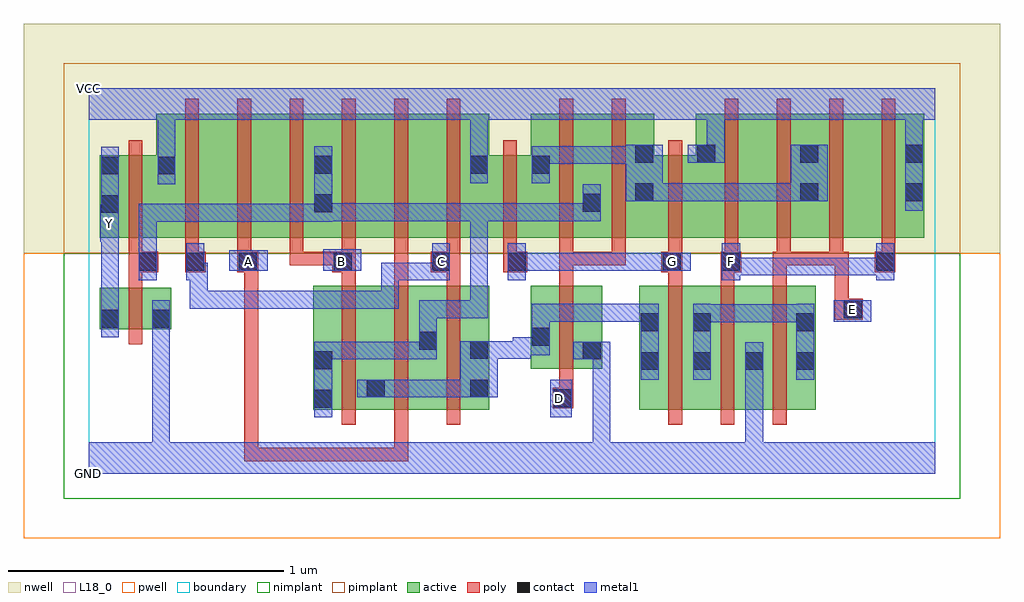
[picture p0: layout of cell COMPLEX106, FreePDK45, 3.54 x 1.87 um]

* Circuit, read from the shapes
.subckt COMPLEX106 A B C D E F G GND VCC Y
M1 GND n1 Y VSUBS nfet w=0.15u l=0.05u
M2 n2 B n1 VSUBS nfet w=0.45u l=0.05u
M3 n1 A n2 VSUBS nfet w=0.45u l=0.05u
M4 n2 C n1 VSUBS nfet w=0.45u l=0.05u
M5 GND D n2 VSUBS nfet w=0.3u l=0.05u
M6 n3 G n2 VSUBS nfet w=0.45u l=0.05u
M7 GND F n3 VSUBS nfet w=0.45u l=0.05u
M8 n3 E GND VSUBS nfet w=0.45u l=0.05u
M9 VCC n1 Y n4 pfet w=0.3u l=0.05u
M10 n5 C VCC n4 pfet w=0.45u l=0.05u
M11 n6 A n5 n4 pfet w=0.45u l=0.05u
M12 n1 B n6 n4 pfet w=0.45u l=0.05u
M13 n7 B n1 n4 pfet w=0.45u l=0.05u
M14 n8 A n7 n4 pfet w=0.45u l=0.05u
M15 VCC C n8 n4 pfet w=0.45u l=0.05u
M16 n9 G VCC n4 pfet w=0.3u l=0.05u m=2
M17 n1 D n9 n4 pfet w=0.45u l=0.05u m=2
M18 n10 F VCC n4 pfet w=0.45u l=0.05u
M19 n9 E n10 n4 pfet w=0.45u l=0.05u
M20 n11 E n9 n4 pfet w=0.45u l=0.05u
M21 VCC F n11 n4 pfet w=0.45u l=0.05u
.ends

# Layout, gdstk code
import gdstk
lib = gdstk.Library(unit=1e-6, precision=1e-09)
def R(c, l, rs):  # rectangles x0, y0, x1, y1
    for r in rs: c.add(gdstk.rectangle(r[:2], r[2:], *l))
def A(c, l, x, y, w, h, nx, ny, dx, dy):  # array of equal rectangles
    R(c, l, [(x+i*dx, y+j*dy, x+i*dx+w, y+j*dy+h) for i in range(nx) for j in range(ny)])
active = (1, 0)
pwell = (2, 0)
nwell = (3, 0)
nimplant = (4, 0)
pimplant = (5, 0)
poly = (9, 0)
contact = (10, 0)
metal1 = (11, 0)
L18_0 = (18, 0)
boundary = (235, 0)

complex106 = lib.new_cell('COMPLEX106')
R(complex106, active, [(0.815,0.232,0.89,0.682), (0.815,0.232,1.08,0.682), (1.005,0.232,1.27,0.682), (1.005,0.232,1.08,0.587), (1.195,0.232,1.455,0.682), (1.38,0.232,1.455,0.682), (2,0.232,2.075,0.682), (2,0.232,2.265,0.682), (2.19,0.232,2.265,0.682), (2.19,0.232,2.455,0.682), (2.38,0.232,2.64,0.682), (2.38,0.232,2.455,0.542), (2.565,0.232,2.64,0.682), (1.195,0.295,1.27,0.6), (1.605,0.382,1.865,0.682), (1.605,0.382,1.68,0.682), (1.79,0.382,1.865,0.625), (0.04,0.525,0.115,0.675), (0.04,0.525,0.3,0.675), (0.225,0.525,0.3,0.675), (0.04,0.857,0.115,1.157), (0.04,0.857,0.32,1.157), (0.245,0.857,0.47,1.307), (0.47,0.857,0.66,1.307), (0.66,0.857,0.89,1.307), (0.815,0.857,1.04,1.307), (0.815,0.857,0.89,1.2), (1.04,0.857,1.23,1.307), (1.23,0.857,1.455,1.307), (1.38,0.857,1.68,1.157), (1.605,0.857,1.865,1.307), (1.79,0.857,2.055,1.307), (1.79,0.857,1.865,1.07), (1.98,0.857,2.055,1.2), (1.98,0.857,2.28,1.157), (2.205,0.857,2.28,1.307), (2.205,0.857,2.43,1.307), (2.43,0.857,2.655,1.307), (2.58,0.857,2.81,1.307), (2.58,0.857,2.655,1.2), (2.81,0.857,3.035,1.307), (2.96,0.857,3.035,1.307), (0.245,1.007,0.32,1.307), (1.38,1.007,1.455,1.307), (1.605,1.007,1.68,1.2)])
R(complex106, pwell, [(-0.235,-0.235,3.31,0.8)])
R(complex106, nwell, [(-0.235,0.8,3.31,1.635)])
R(complex106, nimplant, [(-0.09,-0.09,3.165,0.8)])
R(complex106, pimplant, [(-0.09,0.8,3.165,1.49)])
A(complex106, poly, 0.92, 0.177, 0.05, 0.56, 3, 1, 0.19, 0)
A(complex106, poly, 2.105, 0.177, 0.05, 0.56, 3, 1, 0.19, 0)
A(complex106, poly, 0.92, 0.687, 0.05, 0.095, 3, 1, 0.19, 0)
A(complex106, poly, 0.35, 0.757, 0.05, 0.095, 4, 1, 0.19, 0)
A(complex106, poly, 1.3, 0.757, 0.05, 0.095, 3, 1, 0.205, 0)
A(complex106, poly, 1.9, 0.757, 0.05, 0.095, 3, 1, 0.205, 0)
A(complex106, poly, 2.5, 0.757, 0.05, 0.095, 3, 1, 0.19, 0)
A(complex106, poly, 0.35, 0.802, 0.05, 0.56, 6, 1, 0.19, 0)
A(complex106, poly, 2.31, 0.802, 0.05, 0.56, 4, 1, 0.19, 0)
R(complex106, poly, [(0.565,0.045,0.615,0.095), (0.565,0.045,0.615,0.095), (0.565,0.045,0.615,0.095), (0.565,0.045,0.615,0.095), (0.565,0.045,0.615,0.095), (0.565,0.045,0.615,0.095), (0.565,0.045,0.615,0.095), (0.565,0.045,0.747,0.095), (0.565,0.045,0.615,0.782), (0.697,0.045,0.747,0.095), (0.697,0.045,0.747,0.095), (0.697,0.045,0.747,0.095), (0.697,0.045,0.747,0.095), (0.697,0.045,0.747,0.095), (0.697,0.045,1.027,0.095), (0.977,0.045,1.027,0.095), (0.977,0.045,1.027,0.095), (0.977,0.045,1.027,0.095), (0.977,0.045,1.16,0.095), (1.11,0.045,1.16,0.095), (1.11,0.045,1.16,0.227), (1.685,0.237,1.76,0.312), (1.71,0.262,1.76,0.377), (1.71,0.327,1.76,0.737), (0.145,0.47,0.195,0.73), (2.71,0.56,2.812,0.635), (2.71,0.585,2.76,0.807), (0.145,0.68,0.195,0.782), (1.71,0.687,1.76,0.807), (2.105,0.687,2.155,0.782), (2.295,0.687,2.345,0.782), (2.485,0.687,2.535,0.807), (0.145,0.732,0.252,0.807), (0.35,0.732,0.425,0.807), (0.54,0.732,0.615,0.807), (0.565,0.732,0.615,0.782), (0.565,0.732,0.615,0.782), (0.885,0.732,0.97,0.807), (1.11,0.732,1.16,0.782), (1.11,0.732,1.16,0.852), (1.242,0.732,1.35,0.807), (1.505,0.732,1.592,0.807), (2.08,0.732,2.155,0.807), (2.295,0.732,2.37,0.807), (2.855,0.732,2.93,0.807), (0.145,0.757,0.195,0.852), (0.73,0.757,0.78,0.807), (0.73,0.757,0.78,0.807), (0.73,0.757,0.78,0.807), (0.73,0.757,0.935,0.807), (1.71,0.757,1.76,0.807), (1.71,0.757,1.95,0.807), (1.9,0.757,1.95,0.807), (1.9,0.757,1.95,0.807), (1.9,0.757,1.95,0.807), (2.485,0.757,2.55,0.807), (2.5,0.757,2.74,0.807), (2.69,0.757,2.74,0.807), (2.69,0.757,2.74,0.807), (2.69,0.757,2.74,0.807), (2.69,0.757,2.74,0.807), (2.69,0.757,2.76,0.807), (0.145,0.802,0.195,1.212), (1.505,0.802,1.555,1.212), (1.71,0.802,1.76,1.362), (1.9,0.802,1.95,1.362), (2.105,0.802,2.155,1.212)])
A(complex106, contact, 2.005, 0.377, 0.065, 0.065, 3, 1, 0.19, 0)
R(complex106, contact, [(0.82,0.24,0.885,0.305), (1.69,0.242,1.755,0.307), (1.01,0.277,1.075,0.342), (1.385,0.277,1.45,0.342), (2.57,0.377,2.635,0.442), (0.82,0.38,0.885,0.445), (1.795,0.415,1.86,0.48), (1.385,0.417,1.45,0.482), (1.2,0.45,1.265,0.515), (1.61,0.465,1.675,0.53), (2.005,0.517,2.07,0.582), (2.195,0.517,2.26,0.582), (2.57,0.517,2.635,0.582), (0.045,0.53,0.11,0.595), (0.23,0.53,0.295,0.595), (2.742,0.565,2.807,0.63), (0.182,0.737,0.247,0.802), (0.355,0.737,0.42,0.802), (0.545,0.737,0.61,0.802), (0.89,0.737,0.955,0.802), (1.247,0.737,1.312,0.802), (1.522,0.737,1.587,0.802), (2.085,0.737,2.15,0.802), (2.3,0.737,2.365,0.802), (2.86,0.737,2.925,0.802), (0.045,0.947,0.11,1.012), (0.82,0.95,0.885,1.015), (1.795,0.952,1.86,1.017), (1.985,0.99,2.05,1.055), (2.585,0.99,2.65,1.055), (2.965,0.99,3.03,1.055), (0.045,1.087,0.11,1.152), (0.25,1.087,0.315,1.152), (0.82,1.09,0.885,1.155), (1.385,1.09,1.45,1.155), (1.61,1.09,1.675,1.155), (1.985,1.13,2.05,1.195), (2.21,1.13,2.275,1.195), (2.585,1.13,2.65,1.195), (2.965,1.13,3.03,1.195)])
R(complex106, metal1, [(0,0,3.075,0.115), (0.23,0.05,0.295,0.115), (0.23,0.05,0.295,0.115), (0.23,0.05,0.295,0.115), (0.23,0.05,0.295,0.115), (0.23,0.05,0.295,0.56), (1.83,0.05,1.895,0.115), (1.83,0.05,1.895,0.115), (1.83,0.05,1.895,0.115), (1.83,0.05,1.895,0.115), (1.83,0.05,1.895,0.115), (1.83,0.05,1.895,0.115), (1.83,0.05,1.895,0.48), (2.385,0.05,2.45,0.115), (2.385,0.05,2.45,0.115), (2.385,0.05,2.45,0.407), (0.82,0.205,0.885,0.48), (1.677,0.205,1.755,0.342), (0.975,0.277,1.11,0.342), (1.045,0.277,1.127,0.342), (1.062,0.277,1.127,0.342), (1.062,0.277,1.277,0.342), (1.212,0.277,1.277,0.342), (1.212,0.277,1.277,0.342), (1.212,0.277,1.277,0.342), (1.212,0.277,1.415,0.342), (1.35,0.277,1.485,0.482), (2.005,0.342,2.07,0.617), (2.195,0.342,2.26,0.617), (2.385,0.342,2.45,0.477), (2.385,0.342,2.45,0.407), (2.385,0.342,2.45,0.407), (2.57,0.342,2.635,0.617), (0.82,0.415,0.885,0.48), (0.82,0.415,0.885,0.48), (0.82,0.415,1.127,0.48), (1.062,0.415,1.127,0.48), (1.062,0.415,1.127,0.48), (1.062,0.415,1.127,0.48), (1.062,0.415,1.265,0.48), (1.2,0.415,1.265,0.48), (1.2,0.415,1.265,0.48), (1.2,0.415,1.265,0.62), (1.76,0.415,1.895,0.48), (1.42,0.417,1.605,0.482), (1.54,0.417,1.605,0.495), (1.54,0.43,1.675,0.495), (1.61,0.43,1.675,0.567), (0.045,0.495,0.11,0.63), (0.23,0.495,0.295,0.63), (0.23,0.495,0.295,0.56), (0.23,0.495,0.295,0.56), (0.23,0.495,0.295,0.56), (0.23,0.495,0.295,0.56), (1.61,0.502,1.675,0.567), (1.61,0.502,1.675,0.567), (1.61,0.502,1.675,0.617), (2.195,0.55,2.397,0.615), (2.332,0.55,2.397,0.615), (2.332,0.55,2.397,0.615), (2.332,0.55,2.397,0.615), (2.332,0.55,2.617,0.615), (2.552,0.55,2.617,0.615), (2.552,0.55,2.635,0.615), (1.61,0.552,1.812,0.617), (1.61,0.552,1.675,0.617), (1.747,0.552,1.812,0.617), (1.747,0.552,1.812,0.617), (1.747,0.552,1.812,0.617), (1.747,0.552,1.95,0.617), (1.885,0.552,1.95,0.617), (1.885,0.552,2.07,0.617), (2.707,0.552,2.842,0.63), (1.2,0.555,1.265,0.62), (1.2,0.555,1.265,0.63), (0.045,0.565,0.11,0.907), (1.2,0.565,1.45,0.63), (1.385,0.565,1.45,0.63), (1.385,0.565,1.45,0.63), (1.385,0.565,1.45,0.63), (1.385,0.565,1.45,0.982), (0.367,0.6,0.432,0.665), (0.367,0.6,0.432,0.767), (0.367,0.6,0.575,0.665), (0.51,0.6,0.712,0.665), (0.51,0.6,0.575,0.665), (0.647,0.6,0.712,0.665), (0.647,0.6,0.712,0.665), (0.647,0.6,0.712,0.665), (0.647,0.6,0.902,0.665), (0.837,0.6,0.902,0.665), (0.837,0.6,0.902,0.665), (0.837,0.6,0.902,0.665), (0.837,0.6,1.127,0.665), (1.062,0.6,1.127,0.665), (1.062,0.6,1.127,0.767), (0.182,0.702,0.247,0.837), (0.355,0.702,0.42,0.837), (0.355,0.702,0.432,0.767), (0.367,0.702,0.432,0.767), (1.062,0.702,1.127,0.767), (1.062,0.702,1.127,0.767), (1.062,0.702,1.127,0.767), (1.062,0.702,1.265,0.767), (1.2,0.702,1.265,0.767), (1.2,0.702,1.312,0.767), (1.247,0.702,1.312,0.837), (1.522,0.702,1.587,0.837), (2.3,0.702,2.367,0.837), (2.86,0.702,2.925,0.837), (2.302,0.72,2.465,0.785), (2.4,0.72,2.465,0.785), (2.4,0.72,2.617,0.785), (2.552,0.72,2.617,0.785), (2.552,0.72,2.755,0.785), (2.69,0.72,2.892,0.785), (2.69,0.72,2.755,0.785), (2.69,0.72,2.755,0.785), (2.69,0.72,2.755,0.785), (2.827,0.72,2.925,0.785), (2.827,0.72,2.892,0.785), (0.51,0.737,0.65,0.812), (0.852,0.737,0.99,0.815), (1.522,0.737,1.675,0.802), (1.61,0.737,1.812,0.802), (1.61,0.737,1.675,0.802), (1.747,0.737,1.812,0.802), (1.747,0.737,1.812,0.802), (1.747,0.737,1.812,0.802), (1.747,0.737,1.95,0.802), (1.885,0.737,1.95,0.802), (1.885,0.737,1.95,0.802), (1.885,0.737,1.95,0.802), (1.885,0.737,2.115,0.802), (2.05,0.737,2.187,0.802), (0.182,0.772,0.247,0.837), (0.182,0.772,0.247,0.837), (0.182,0.772,0.247,0.98), (0.042,0.842,0.11,0.977), (0.045,0.912,0.11,1.187), (0.045,0.912,0.11,0.977), (0.182,0.915,0.247,0.98), (0.182,0.915,0.437,0.98), (0.372,0.915,0.437,0.98), (0.372,0.915,0.437,0.98), (0.372,0.915,0.437,0.98), (0.372,0.915,0.575,0.98), (0.51,0.915,0.575,0.98), (0.51,0.915,0.575,0.98), (0.51,0.915,0.575,0.98), (0.51,0.915,0.747,0.98), (0.682,0.915,0.747,0.98), (0.682,0.915,0.885,0.98), (0.82,0.915,0.885,1.19), (0.82,0.917,0.885,0.982), (0.82,0.917,0.885,0.982), (0.82,0.917,1.127,0.982), (1.062,0.917,1.127,0.982), (1.062,0.917,1.127,0.982), (1.062,0.917,1.127,0.982), (1.062,0.917,1.277,0.982), (1.212,0.917,1.277,0.982), (1.212,0.917,1.277,0.982), (1.212,0.917,1.277,0.982), (1.212,0.917,1.45,0.982), (1.385,0.917,1.45,0.982), (1.385,0.917,1.45,0.982), (1.385,0.917,1.45,0.982), (1.385,0.917,1.675,0.982), (1.61,0.917,1.812,0.982), (1.61,0.917,1.675,0.982), (1.747,0.917,1.812,0.982), (1.747,0.917,1.86,0.982), (1.795,0.917,1.86,1.052), (2.965,0.955,3.03,1.23), (1.95,0.99,2.085,1.195), (2.02,0.99,2.085,1.055), (2.02,0.99,2.087,1.055), (2.022,0.99,2.087,1.055), (2.022,0.99,2.087,1.055), (2.022,0.99,2.225,1.055), (2.16,0.99,2.225,1.055), (2.16,0.99,2.397,1.055), (2.332,0.99,2.397,1.055), (2.332,0.99,2.397,1.055), (2.332,0.99,2.397,1.055), (2.332,0.99,2.615,1.055), (2.55,0.99,2.615,1.055), (2.55,0.99,2.615,1.055), (2.55,0.99,2.685,1.195), (0.25,1.052,0.315,1.187), (1.385,1.055,1.45,1.19), (1.61,1.055,1.675,1.19), (0.25,1.122,0.315,1.35), (1.385,1.125,1.45,1.35), (1.61,1.125,1.812,1.19), (1.747,1.125,1.812,1.19), (1.747,1.125,1.812,1.19), (1.747,1.125,1.812,1.19), (1.747,1.125,1.95,1.19), (1.885,1.125,1.95,1.19), (1.885,1.125,2.015,1.19), (2.175,1.13,2.31,1.195), (2.245,1.13,2.31,1.35), (2.965,1.165,3.03,1.35), (0,1.285,3.075,1.4)])
R(complex106, L18_0, [(0,0,3.075,0.115), (0.23,0.05,0.295,0.115), (0.23,0.05,0.295,0.115), (0.23,0.05,0.295,0.115), (0.23,0.05,0.295,0.115), (0.23,0.05,0.295,0.56), (1.83,0.05,1.895,0.115), (1.83,0.05,1.895,0.115), (1.83,0.05,1.895,0.115), (1.83,0.05,1.895,0.115), (1.83,0.05,1.895,0.115), (1.83,0.05,1.895,0.115), (1.83,0.05,1.895,0.48), (2.385,0.05,2.45,0.115), (2.385,0.05,2.45,0.115), (2.385,0.05,2.45,0.407), (1.677,0.205,1.755,0.342), (1.677,0.242,1.742,0.307), (2.385,0.342,2.45,0.477), (2.385,0.342,2.45,0.407), (2.385,0.342,2.45,0.407), (1.76,0.415,1.895,0.48), (0.045,0.495,0.11,0.63), (0.23,0.495,0.295,0.63), (0.23,0.495,0.295,0.56), (0.23,0.495,0.295,0.56), (0.23,0.495,0.295,0.56), (0.23,0.495,0.295,0.56), (2.707,0.552,2.842,0.63), (2.742,0.562,2.807,0.627), (0.045,0.565,0.11,0.907), (0.367,0.6,0.432,0.665), (0.367,0.6,0.432,0.767), (0.367,0.6,0.575,0.665), (0.51,0.6,0.575,0.665), (0.51,0.6,0.712,0.665), (0.647,0.6,0.712,0.665), (0.647,0.6,0.712,0.665), (0.647,0.6,0.712,0.665), (0.647,0.6,0.902,0.665), (0.837,0.6,0.902,0.665), (0.837,0.6,0.902,0.665), (0.837,0.6,0.902,0.665), (0.837,0.6,1.127,0.665), (1.062,0.6,1.127,0.665), (1.062,0.6,1.127,0.767), (0.355,0.702,0.42,0.837), (0.355,0.702,0.432,0.767), (0.367,0.702,0.432,0.767), (1.062,0.702,1.127,0.767), (1.062,0.702,1.127,0.767), (1.062,0.702,1.127,0.767), (1.062,0.702,1.265,0.767), (1.2,0.702,1.265,0.767), (1.2,0.702,1.312,0.767), (1.247,0.702,1.312,0.837), (1.522,0.702,1.587,0.837), (2.3,0.702,2.367,0.837), (2.86,0.702,2.925,0.837), (2.302,0.72,2.465,0.785), (2.4,0.72,2.465,0.785), (2.4,0.72,2.617,0.785), (2.552,0.72,2.617,0.785), (2.552,0.72,2.755,0.785), (2.69,0.72,2.755,0.785), (2.69,0.72,2.755,0.785), (2.69,0.72,2.755,0.785), (2.69,0.72,2.892,0.785), (2.827,0.72,2.892,0.785), (2.827,0.72,2.925,0.785), (0.51,0.737,0.65,0.812), (0.547,0.737,0.612,0.802), (0.852,0.737,0.99,0.815), (0.887,0.737,0.952,0.802), (1.247,0.737,1.312,0.802), (1.522,0.737,1.675,0.802), (1.61,0.737,1.675,0.802), (1.61,0.737,1.812,0.802), (1.747,0.737,1.812,0.802), (1.747,0.737,1.812,0.802), (1.747,0.737,1.812,0.802), (1.747,0.737,1.95,0.802), (1.885,0.737,1.95,0.802), (1.885,0.737,1.95,0.802), (1.885,0.737,1.95,0.802), (1.885,0.737,2.115,0.802), (2.05,0.737,2.187,0.802), (2.087,0.737,2.152,0.802), (2.302,0.737,2.367,0.802), (0.042,0.842,0.11,0.977), (0.042,0.877,0.107,0.942), (0.045,0.912,0.11,1.187), (0.045,0.912,0.11,0.977), (2.965,0.955,3.03,1.23), (0.25,1.052,0.315,1.187), (1.385,1.055,1.45,1.19), (0.25,1.122,0.315,1.35), (1.385,1.125,1.45,1.35), (2.175,1.13,2.31,1.195), (2.245,1.13,2.31,1.35), (2.965,1.165,3.03,1.35), (0,1.285,3.075,1.4)])
R(complex106, boundary, [(0,0,3.075,1.4)])
complex106.add(gdstk.Label('A', (0.58,0.77), layer=11, texttype=0))
complex106.add(gdstk.Label('B', (0.92,0.77), layer=11, texttype=0))
complex106.add(gdstk.Label('C', (1.28,0.77), layer=11, texttype=0))
complex106.add(gdstk.Label('D', (1.71,0.275), layer=11, texttype=0))
complex106.add(gdstk.Label('E', (2.775,0.595), layer=11, texttype=0))
complex106.add(gdstk.Label('F', (2.335,0.77), layer=11, texttype=0))
complex106.add(gdstk.Label('G', (2.12,0.77), layer=11, texttype=0))
complex106.add(gdstk.Label('Y', (0.075,0.91), layer=11, texttype=0))
complex106.add(gdstk.Label('VCC', (0,1.4), layer=11, texttype=0))
complex106.add(gdstk.Label('GND', (0,0), layer=11, texttype=0))

lib.write_gds('COMPLEX106.gds')
